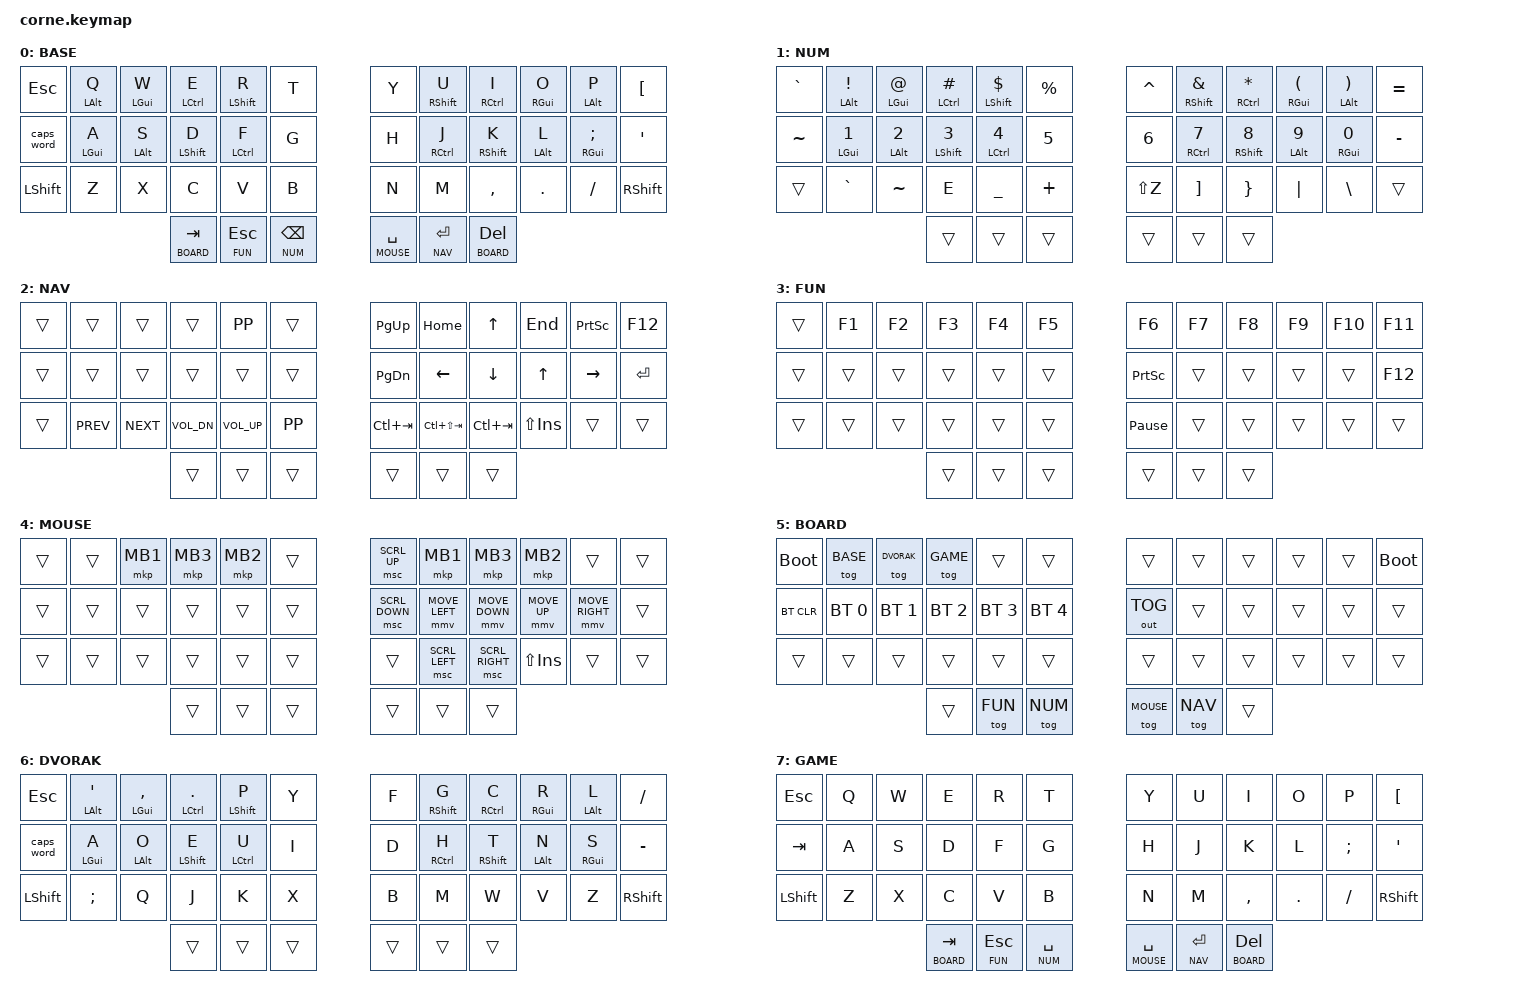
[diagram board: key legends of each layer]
/*
 * Copyright (c) 2020 The ZMK Contributors
 *
 * SPDX-License-Identifier: MIT
 */

#include <behaviors.dtsi>
#include <dt-bindings/zmk/bt.h>
#include <dt-bindings/zmk/keys.h>
#include <dt-bindings/zmk/mouse.h>
#include <dt-bindings/zmk/pointing.h>

#define BASE 0
#define NUM 1
#define NAV 2
#define FUN 3
#define MOUSE 4
#define BOARD 5
#define DVORAK 6
#define GAME 7

&mt {
  flavor = "tap-preferred";
  tapping_term_ms = <150>;
  quick-tap-ms = <100>;
};

&lt {
  flavor = "tap-preferred";
  tapping_term_ms = <150>;
  quick-tap-ms = <100>;
};

&caps_word {
  continue-list = <UNDERSCORE MINUS BACKSPACE DELETE SEMI SQT DOT COMMA SLASH>;
};

&mmv {
    x-input-code = <INPUT_REL_X>;
    y-input-code = <INPUT_REL_Y>;
    time-to-max-speed-ms = <45>;
    acceleration-exponent = <1>;
};


/ {
  behaviors {
    mt_shft: mt_shft {
      compatible = "zmk,behavior-hold-tap";
      label = "shift modtap";
      #binding-cells = <2>;
      tapping_term_ms = <125>;
      quick-tap-ms = <100>;
      flavor = "tap-preferred";
      bindings = <&kp>, <&kp>;
    };

    mt_gui: mt_gui {
      compatible = "zmk,behavior-hold-tap";
      label = "gui modtap";
      #binding-cells = <2>;
      tapping_term_ms = <200>;
      quick-tap-ms = <100>;
      require-prior-idle-ms = <150>;
      flavor = "tap-preferred";
      bindings = <&kp>, <&kp>;
    };

    mt_actl: mt_actl {
      compatible = "zmk,behavior-hold-tap";
      label = "gui modtap";
      #binding-cells = <2>;
      tapping_term_ms = <200>;
      quick-tap-ms = <100>;
      require-prior-idle-ms = <150>;
      flavor = "tap-preferred";
      bindings = <&kp>, <&kp>;
    };

    lt_spc: lt_spc {
      compatible = "zmk,behavior-hold-tap";
      label = "space modtap";
      #binding-cells = <2>;
      tapping_term_ms = <175>;
      quick-tap-ms = <150>;
      require-prior-idle-ms = <150>;
      flavor = "tap-preferred";
      bindings = <&mo>, <&kp>;
    };
  };

  keymap {
    compatible = "zmk,keymap";

    BASE_LAYER {
        display-name = "BASE";
        bindings = <
    &kp ESC    &mt_actl LALT Q &mt_gui  LGUI W &mt_actl LCTRL E &mt_shft LSHFT R &kp T &kp Y &mt_shft RSHFT U &mt_actl RCTRL I &mt_gui  RGUI O &mt_actl LALT P    &kp LBKT
    &caps_word &mt_gui  LGUI A &mt_actl LALT S &mt_shft LSHFT D &mt_actl LCTRL F &kp G &kp H &mt_actl RCTRL J &mt_shft RSHFT K &mt_actl LALT L &mt_gui  RGUI SEMI &kp SQT
    &kp LSHFT  &kp Z           &kp X            &kp C           &kp V            &kp B &kp N &kp M            &kp COMMA        &kp DOT         &kp FSLH           &kp RSHFT
    &lt BOARD TAB &lt FUN ESC &lt NUM BSPC  &lt_spc MOUSE SPACE &lt NAV ENTER &lt BOARD DEL
        >;
    };
    // num/sym
    NUM_LAYER {
        display-name = "NUM";
        bindings = <
    &kp GRAVE &mt_actl LALT EXCL &mt_gui  LGUI AT &mt_actl LCTRL HASH &mt_shft LSHFT DLLR &kp PRCNT  &kp CARET   &mt_shft RSHFT AMPS &mt_actl RCTRL ASTRK &mt_gui  RGUI LPAR &mt_actl LALT RPAR &kp EQUAL
    &kp TILDE &mt_gui  LGUI N1   &mt_actl LALT N2 &mt_shft LSHFT N3   &mt_actl LCTRL N4   &kp N5     &kp N6      &mt_actl RCTRL N7   &mt_shft RSHFT N8    &mt_actl LALT N9   &mt_gui  RGUI N0   &kp MINUS
    &trans    &kp GRAVE          &kp TILDE        &kp E               &kp UNDER           &kp PLUS   &kp LS(Z)   &kp RBKT            &kp RBRC             &kp PIPE           &kp BSLH           &trans
    &trans &trans &trans &trans &trans &trans
        >;
    };
    // nav
    NAV_LAYER {
        display-name = "NAV";
        bindings = <
    &trans &trans     &trans     &trans       &kp K_PP     &trans   &kp PG_UP   &kp HOME        &kp UP      &kp END     &kp PSCRN &kp F12
    &trans &trans     &trans     &trans       &trans       &trans   &kp PG_DN   &kp LEFT        &kp DOWN    &kp UP      &kp RIGHT &kp ENTER
    &trans &kp K_PREV &kp K_NEXT &kp K_VOL_DN &kp K_VOL_UP &kp K_PP &kp LC(TAB) &kp LC(LS(TAB)) &kp LC(TAB) &kp LS(INS) &trans    &trans
    &trans &trans &trans &trans &trans &trans
        >;
    };
    // fun
    FUN_LAYER {
        display-name = "FUN";
        bindings = <
    &trans &kp F1 &kp F2 &kp F3 &kp F4 &kp F5 &kp F6          &kp F7 &kp F8 &kp F9 &kp F10 &kp F11
    &trans &trans &trans &trans &trans &trans &kp PSCRN       &trans &trans &trans &trans  &kp F12
    &trans &trans &trans &trans &trans &trans &kp PAUSE_BREAK &trans &trans &trans &trans  &trans
    &trans &trans &trans &trans &trans &trans
        >;
    };
    // mouse
    // TODO: add mouse movement and scroll support once ZMK does
    MOUSE_LAYER {
        display-name = "MOUSE";
        bindings = <
    &trans &trans &mkp MB1 &mkp MB3 &mkp MB2 &trans &msc SCRL_UP   &mkp MB1       &mkp MB3        &mkp MB2     &trans          &trans
    &trans &trans &trans   &trans   &trans   &trans &msc SCRL_DOWN &mmv MOVE_LEFT &mmv MOVE_DOWN  &mmv MOVE_UP &mmv MOVE_RIGHT &trans
    &trans &trans &trans   &trans   &trans   &trans &trans         &msc SCRL_LEFT &msc SCRL_RIGHT &kp  LS(INS) &trans          &trans
    &trans &trans &trans &trans &trans &trans
        >;
    };
    // keyboard
    BOARD_LAYER {
        display-name = "BOARD";
        bindings = <
    &bootloader &tog BASE    &tog DVORAK  &tog GAME    &trans       &trans       &trans       &trans &trans &trans &trans &bootloader
    &bt BT_CLR  &bt BT_SEL 0 &bt BT_SEL 1 &bt BT_SEL 2 &bt BT_SEL 3 &bt BT_SEL 4 &out OUT_TOG &trans &trans &trans &trans &trans
    &trans      &trans       &trans       &trans       &trans       &trans       &trans       &trans &trans &trans &trans &trans
    &trans &tog FUN &tog NUM  &tog MOUSE &tog NAV &trans
        >;
    };
    // dvorak
    DVORAK_LAYER {
        display-name = "DVORAK";
        bindings = <
    &kp ESC    &mt_actl LALT SQT &mt_gui  LGUI COMMA &mt_actl LCTRL DOT &mt_shft LSHFT P &kp Y &kp F &mt_shft RSHFT G &mt_actl RCTRL C &mt_gui  RGUI R &mt_actl LALT L &kp FSLH
    &caps_word &mt_gui  LGUI A   &mt_actl LALT O     &mt_shft LSHFT E   &mt_actl LCTRL U &kp I &kp D &mt_actl RCTRL H &mt_shft RSHFT T &mt_actl LALT N &mt_gui  RGUI S &kp MINUS
    &kp LSHFT  &kp SEMI          &kp Q               &kp J              &kp K            &kp X &kp B &kp M            &kp W            &kp V           &kp Z           &kp RSHFT
    &trans &trans &trans &trans &trans &trans
        >;
    };
    // gaming
    GAME_LAYER {
        display-name = "GAME";
        bindings = <
    &kp ESC   &kp Q &kp W &kp E &kp R &kp T &kp Y &kp U &kp I     &kp O   &kp P    &kp LBKT
    &kp TAB   &kp A &kp S &kp D &kp F &kp G &kp H &kp J &kp K     &kp L   &kp SEMI &kp SQT
    &kp LSHFT &kp Z &kp X &kp C &kp V &kp B &kp N &kp M &kp COMMA &kp DOT &kp FSLH &kp RSHFT
    &lt BOARD TAB &lt FUN ESC &lt NUM SPACE  &lt_spc MOUSE SPACE &lt NAV ENTER &lt BOARD DEL
        >;
    };
  };
};
